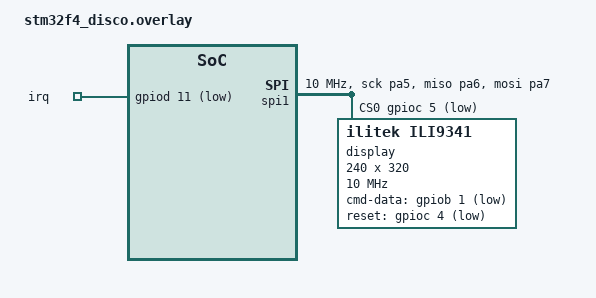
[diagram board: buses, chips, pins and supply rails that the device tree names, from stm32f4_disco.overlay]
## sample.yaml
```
sample:
  name: Blinky Sample
tests:
  sample.basic.blinky:
    tags: LED gpio
    filter: dt_enabled_alias_with_parent_compat("led0", "gpio-leds")
    depends_on: gpio, pwm
    harness: led
    integration_platforms:
      - frdm_k64f
    modules:
    - lvgl
```

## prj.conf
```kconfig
# Peripherals
CONFIG_GPIO=y
CONFIG_PWM=y
CONFIG_CAN=y
CONFIG_SPI=y
CONFIG_DISPLAY=y

CONFIG_MAIN_STACK_SIZE=4096


CONFIG_LVGL=y
CONFIG_LV_Z_POINTER_KSCAN=y
CONFIG_KSCAN=y

CONFIG_LV_USE_DEMO_WIDGETS=y
CONFIG_LV_DEMO_WIDGETS_SLIDESHOW=y


# Systemview
CONFIG_SEGGER_SYSTEMVIEW=y
CONFIG_TRACING=y
```

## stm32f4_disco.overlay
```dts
/ {

	gpio_pins {
		compatible = "gpio-keys";
		irq: pd11 { 
			gpios = <&gpiod 11 GPIO_ACTIVE_LOW>;
		};
	};
};

spi: &spi1 {
	status = "okay";
	pinctrl-0 = <&spi1_sck_pa5 &spi1_miso_pa6 &spi1_mosi_pa7>;
	cs-gpios = < &gpioc 5 GPIO_ACTIVE_LOW >;
	pinctrl-names = "default";
	clock-frequency = <10000000>;


	display: ili9341@0 {
		status = "okay";
		compatible = "ilitek,ili9341";
		cmd-data-gpios = <&gpiob 1 GPIO_ACTIVE_LOW>;
		reset-gpios = < &gpioc 4 GPIO_ACTIVE_LOW >;
		reg = <0x0 >;
		spi-max-frequency = <10000000>;
		height = <320>;
		width = <240>;		
	};
};
```

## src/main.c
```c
/*
 * Copyright (c) 2016 Intel Corporation
 *
 * SPDX-License-Identifier: Apache-2.0
 */

#include <zephyr/kernel.h>
#include <zephyr/device.h>
#include <zephyr/drivers/gpio.h>
#include <zephyr/drivers/pwm.h>
#include <zephyr/drivers/can.h>
#include <zephyr/devicetree.h>
#include <zephyr/drivers/display.h>
#include <zephyr/drivers/spi.h>
#include <stdio.h>
#include <string.h>
#include <zephyr/irq.h>
#include <zephyr/drivers/kscan.h>


#include <lvgl.h>	
#include "SEGGER_RTT_printf.c"


const struct device* display_dev = DEVICE_DT_GET(DT_NODELABEL(display));
const struct gpio_dt_spec touch_irq = GPIO_DT_SPEC_GET(DT_NODELABEL(irq), gpios);

static struct gpio_callback cb_data;


// Interrupt Service Routine
void touch_isr(void){
      SEGGER_RTT_printf(0, "Interrupt\n");
}


void main(void){

      gpio_pin_configure_dt(&touch_irq, GPIO_INPUT);

      gpio_pin_interrupt_configure_dt(&touch_irq, GPIO_INT_EDGE_TO_ACTIVE);
      gpio_init_callback(&cb_data, touch_isr, BIT(touch_irq.pin));
      gpio_add_callback(touch_irq.port, &cb_data);

      char buf[32];
      int counter = 0;


      display_blanking_off(display_dev);


      lv_obj_set_style_bg_color(lv_scr_act(), lv_color_hex(0xFFFFFFFF), LV_PART_MAIN);

      lv_obj_t * label = lv_label_create(lv_scr_act());

      lv_obj_set_style_text_color(lv_scr_act(), lv_color_hex(0x00000000), LV_PART_MAIN);
      lv_obj_align(label, LV_ALIGN_CENTER, 0, 0);

      lv_task_handler();


	while (1) {
            sprintf(buf, "%d", counter++);
            lv_label_set_text(label, buf);
            lv_task_handler();
            k_msleep(100);
	}

}
```
